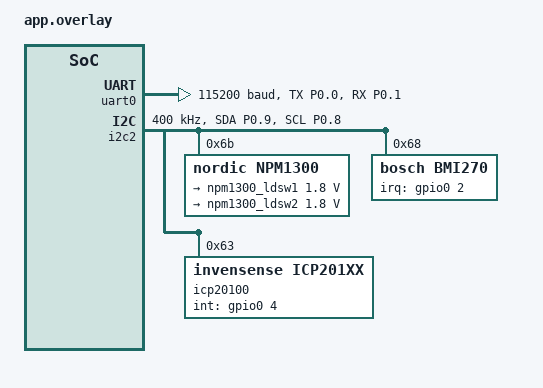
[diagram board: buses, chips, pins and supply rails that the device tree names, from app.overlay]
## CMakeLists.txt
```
# Require a minimum CMake version (Standard for NCS)
cmake_minimum_required(VERSION 3.20.0)

# Find the Zephyr package. This is the magic line that loads the whole RTOS.
find_package(Zephyr REQUIRED HINTS $ENV{ZEPHYR_BASE})

# Name your specific project
project(barometer_fifo)

# Tell CMake where your C source code lives
target_sources(app PRIVATE src/main.c)
```

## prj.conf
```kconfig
# Enable I2C
CONFIG_I2C=y

# Enable Logging
CONFIG_LOG=y

# We need floating point support to print the kPa values
CONFIG_CBPRINTF_FP_SUPPORT=y
```

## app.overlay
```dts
#include <zephyr/dt-bindings/regulator/npm13xx.h>
#include <zephyr/dt-bindings/i2c/i2c.h>

&pinctrl {
    /* --- UART0 --- */
    uart0_default: uart0_default {
        group1 {
            psels = <NRF_PSEL(UART_TX, 0, 0)>,
                    <NRF_PSEL(UART_RX, 0, 1)>;
        };
    };
    uart0_sleep: uart0_sleep {
        group1 {
            psels = <NRF_PSEL(UART_TX, 0, 0)>,
                    <NRF_PSEL(UART_RX, 0, 1)>;
            low-power-enable;
        };
    };

    /* --- I2C2 --- */
    i2c2_default: i2c2_default {
        group1 {
            psels = <NRF_PSEL(TWIM_SDA, 0, 9)>,
                    <NRF_PSEL(TWIM_SCL, 0, 8)>;
        };
    };
    i2c2_sleep: i2c2_sleep {
        group1 {
            psels = <NRF_PSEL(TWIM_SDA, 0, 9)>,
                    <NRF_PSEL(TWIM_SCL, 0, 8)>;
            low-power-enable;
        };
    };
};


&uart0 {
    status = "okay";
    current-speed = <115200>;
    pinctrl-0 = <&uart0_default>;
    pinctrl-1 = <&uart0_sleep>;
    pinctrl-names = "default", "sleep";
};

&i2c2 {
    status = "okay";
    pinctrl-0 = <&i2c2_default>;
    pinctrl-1 = <&i2c2_sleep>;
    pinctrl-names = "default", "sleep";
    clock-frequency = <I2C_BITRATE_FAST>;
    zephyr,concat-buf-size = <2048>;
    zephyr,flash-buf-max-size = <2048>;

    npm1300: pmic@6b {
        compatible = "nordic,npm1300";
        reg = <0x6b>;
        status = "okay";

        npm1300_regulators: regulators {
            compatible = "nordic,npm1300-regulator";
            status = "okay";
        };

        npm1300_charger: charger {
            compatible = "nordic,npm1300-charger";
            status = "okay";
            vbus-limit-microamp = <500000>;
            term-microvolt = <4200000>;
            current-microamp = <400000>;
            dischg-limit-microamp = <1000000>;
            thermistor-ohms = <10000>;
            thermistor-beta = <3380>;
        };
    };


    /* Bosch BMI270 IMU */
    bmi270: bmi270@68 {
        compatible = "bosch,bmi270";
        reg = <0x68>;
        irq-gpios = <&gpio0 2 (GPIO_ACTIVE_HIGH | GPIO_PULL_DOWN)>;
    };

    /* TDK Barometer */
    icp20100: icp20100@63 {
        compatible = "invensense,icp201xx";
        reg = <0x63>;
        int-gpios = <&gpio0 4 GPIO_ACTIVE_HIGH>;
    };

};


&npm1300_regulators {
    npm1300_ldsw1: LDO1 {
        status = "okay";
        /* Fixed: Lowered to 1.8V to match nRF9151 GPIO logic levels */
        regulator-min-microvolt = <1800000>;
        regulator-max-microvolt = <1800000>;
        regulator-initial-mode = <NPM13XX_LDSW_MODE_LDSW>;
        active-discharge;
        regulator-boot-on;
        regulator-always-on;
    };

    npm1300_ldsw2: LDO2 {
        status = "okay";
        /* Fixed: Lowered to 1.8V to match nRF9151 GPIO logic levels */
        regulator-min-microvolt = <1800000>;
        regulator-max-microvolt = <1800000>;
        regulator-initial-mode = <NPM13XX_LDSW_MODE_LDSW>;
        active-discharge;
        regulator-boot-on;
        regulator-always-on;
    };
};
```

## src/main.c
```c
#include <zephyr/kernel.h>
#include <zephyr/device.h>
#include <zephyr/drivers/i2c.h>
#include <zephyr/logging/log.h>

LOG_MODULE_REGISTER(icp_test, LOG_LEVEL_INF);

#define ICP20100_NODE DT_NODELABEL(icp20100)
const struct i2c_dt_spec icp_i2c = I2C_DT_SPEC_GET(ICP20100_NODE);

/* Hardware Registers */
#define ICP20100_REG_MODE_SELECT 0xC0
#define ICP20100_REG_FIFO_FILL   0xC4  
#define ICP20100_REG_FIFO_BASE   0xFA  
#define ICP20100_REG_DUMMY       0x00  

#define ICP20100_FIFO_LEVEL_MASK 0x1F
#define ICP20100_CMD_FIFO_FLUSH  0x80

static uint8_t icp_fifo_buffer[16 * 6];

/* Helper to flush the FIFO cleanly */
static void flush_pressure_fifo(void)
{
    uint8_t current_fill = 0;
    i2c_reg_read_byte_dt(&icp_i2c, ICP20100_REG_FIFO_FILL, &current_fill);
    current_fill |= ICP20100_CMD_FIFO_FLUSH;
    i2c_reg_write_byte_dt(&icp_i2c, ICP20100_REG_FIFO_FILL, current_fill);
}

/* Reads the FIFO and outputs pressure in kPa. */
static uint16_t read_pressure_fifo(float *out_pressure, uint16_t max_samples)
{
    uint8_t fifo_fill_reg = 0;
    int ret;

    ret = i2c_reg_read_byte_dt(&icp_i2c, ICP20100_REG_FIFO_FILL, &fifo_fill_reg);
    if (ret) return 0;

    uint8_t fifo_count = fifo_fill_reg & ICP20100_FIFO_LEVEL_MASK;
    
    if (fifo_count == 0) return 0;
    if (fifo_count > max_samples) fifo_count = max_samples;

    uint16_t bytes_to_read = fifo_count * 6;
    ret = i2c_burst_read_dt(&icp_i2c, ICP20100_REG_FIFO_BASE, icp_fifo_buffer, bytes_to_read);
    if (ret) return 0;

    uint8_t dummy;
    i2c_reg_read_byte_dt(&icp_i2c, ICP20100_REG_DUMMY, &dummy);

    for (int i = 0; i < fifo_count; i++) {
        uint8_t *packet = &icp_fifo_buffer[i * 6];
        
        int32_t data_press = ((int32_t)(packet[2] & 0x0f) << 16) | 
                             ((int32_t)packet[1] << 8) | 
                             packet[0];
        
        if (data_press & 0x080000) {
            data_press |= 0xFFF00000; 
        }
        
        out_pressure[i] = ((float)(data_press) * 40.0f / 131072.0f) + 70.0f;
    }

    return fifo_count;
}

int main(void)
{
    LOG_INF("ICP-20100 FIFO Sleep Test Starting...");

    if (!i2c_is_ready_dt(&icp_i2c)) {
        LOG_ERR("I2C bus not ready");
        return 0;
    }

    /* 1. Force the sensor into Continuous Mode @ 25Hz (Mode 0) 
     * Mode Select Bit 3 = Continuous Mode (1)
     * All other bits 0 = Normal power, Mode 0, Press+Temp FIFO 
     */
    LOG_INF("Configuring sensor for continuous measurement (25Hz)...");
    i2c_reg_write_byte_dt(&icp_i2c, ICP20100_REG_MODE_SELECT, 0x08);
    
    k_sleep(K_MSEC(100)); /* Let it stabilize */

    float pressure_data[16];
    uint16_t count = 0;

    /* 2. Flush FIFO so we start with a clean slate */
    LOG_INF("Flushing FIFO...");
    flush_pressure_fifo();
    k_sleep(K_MSEC(200)); /* Wait 200ms (should generate about 5 samples) */

    /* 3. The "BEFORE" Read */
    count = read_pressure_fifo(pressure_data, 16);
    LOG_INF("--- BEFORE 10s SLEEP ---");
    LOG_INF("Read %d samples from FIFO", count);
    for (int i = 0; i < count; i++) {
        LOG_INF("  Sample %d: %.3f kPa", i, (double)pressure_data[i]);
    }

    /* Clear it out again before the long sleep */
    flush_pressure_fifo();

    /* 4. The Deep Sleep */
    LOG_INF("CPU sleeping for 10 seconds... (Hardware FIFO should fill and overflow)");
    k_sleep(K_SECONDS(10));

    /* 5. The "AFTER" Read */
    count = read_pressure_fifo(pressure_data, 16);
    LOG_INF("--- AFTER 10s SLEEP ---");
    LOG_INF("Read %d samples from FIFO", count);
    for (int i = 0; i < count; i++) {
        LOG_INF("  Sample %d: %.3f kPa", i, (double)pressure_data[i]);
    }

    LOG_INF("Test Complete!");
    return 0;
}
```
